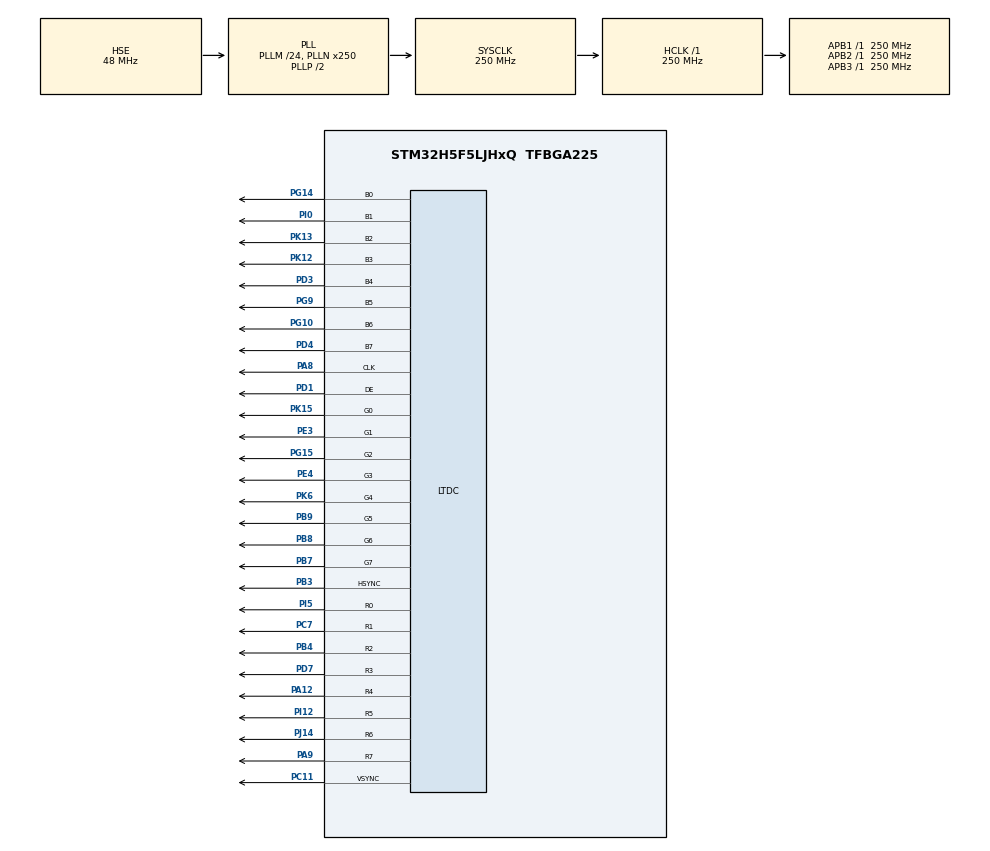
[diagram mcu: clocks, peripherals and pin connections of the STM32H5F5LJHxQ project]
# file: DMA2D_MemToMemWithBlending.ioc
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BOOTPATH.BootPathName=LEGACY
BOOTPATH.UserSelectedBootPath=LEGACY
CORTEX_M33_NS.userName=CORTEX_M33
DMA2D.AlphaModeBackground=DMA2D_REPLACE_ALPHA
DMA2D.AlphaModeForeground=DMA2D_REPLACE_ALPHA
DMA2D.ColorMode=DMA2D_OUTPUT_RGB888
DMA2D.InputAlphaBackground=0x7F
DMA2D.InputAlphaForeground=0x7F
DMA2D.InputColorModeBackground=DMA2D_INPUT_RGB565
DMA2D.InputColorModeForeground=DMA2D_INPUT_RGB565
DMA2D.Mode=DMA2D_M2M_BLEND
DMA2D.OutputOffset=WVGA_RES_X - LAYER_SIZE_X
Mcu.Family=STM32H5
Mcu.Name=STM32H5F5LJHxQ
Mcu.Package=TFBGA225
NVIC.DMA2D_IRQn=true\:0\:0\:false\:false\:true\:true\:true\:true
NVIC.PriorityGroup=NVIC_PRIORITYGROUP_4
PA12.Mode=RGB888
PA12.Signal=LTDC_R4
PA8.Mode=RGB888
PA8.Signal=LTDC_CLK
PA9.Mode=RGB888
PA9.Signal=LTDC_R7
PB3\ (JTDO/TRACESWO).Mode=RGB888
PB3\ (JTDO/TRACESWO).Signal=LTDC_HSYNC
PB4\ (NJTRST).Mode=RGB888
PB4\ (NJTRST).Signal=LTDC_R2
PB7.Mode=RGB888
PB7.Signal=LTDC_G7
PB8.Mode=RGB888
PB8.Signal=LTDC_G6
PB9.Mode=RGB888
PB9.Signal=LTDC_G5
PC11.Mode=RGB888
PC11.Signal=LTDC_VSYNC
PC7.Mode=RGB888
PC7.Signal=LTDC_R1
PD1.Mode=RGB888
PD1.Signal=LTDC_DE
PD3.Mode=RGB888
PD3.Signal=LTDC_B4
PD4.Mode=RGB888
PD4.Signal=LTDC_B7
PD7.Mode=RGB888
PD7.Signal=LTDC_R3
PE3.Mode=RGB888
PE3.Signal=LTDC_G1
PE4.Mode=RGB888
PE4.Signal=LTDC_G3
PG10.Mode=RGB888
PG10.Signal=LTDC_B6
PG14.Mode=RGB888
PG14.Signal=LTDC_B0
PG15.Mode=RGB888
PG15.Signal=LTDC_G2
PG9.Mode=RGB888
PG9.Signal=LTDC_B5
PH0-OSC_IN(PH0).Mode=HSE-External-Oscillator
PH0-OSC_IN(PH0).Signal=RCC_OSC_IN
PH1-OSC_OUT(PH1).Mode=HSE-External-Oscillator
PH1-OSC_OUT(PH1).Signal=RCC_OSC_OUT
PI0.Mode=RGB888
PI0.Signal=LTDC_B1
PI12.Mode=RGB888
PI12.Signal=LTDC_R5
PI5.Mode=RGB888
PI5.Signal=LTDC_R0
PJ14.Mode=RGB888
PJ14.Signal=LTDC_R6
PK12.Mode=RGB888
PK12.Signal=LTDC_B3
PK13.Mode=RGB888
PK13.Signal=LTDC_B2
PK15.Mode=RGB888
PK15.Signal=LTDC_G0
PK6.Mode=RGB888
PK6.Signal=LTDC_G4
ProjectManager.HeapSize=0x200
ProjectManager.StackSize=0x400
ProjectManager.TargetToolchain=EWARM V9.20
RCC.ADCFreq_Value=250000000
RCC.AHBFreq_Value=250000000
RCC.APB1Freq_Value=250000000
RCC.APB1TimFreq_Value=250000000
RCC.APB2Freq_Value=250000000
RCC.APB2TimFreq_Value=250000000
RCC.APB3Freq_Value=250000000
RCC.CSI_VALUE=4000000
RCC.CortexFreq_Value=250000000
RCC.EPOD_VALUE=48000000
RCC.HCLKFreq_Value=250000000
RCC.HSE_VALUE=48000000
RCC.HSI48_VALUE=48000000
RCC.HSI_VALUE=64000000
RCC.LSE_VALUE=32768
RCC.LSIRC_VALUE=32000
RCC.PLL2FRACN=0
RCC.PLL2R=3
RCC.PLL3FRACN=0
RCC.PLLFRACN=0
RCC.PLLM=24
RCC.PLLN=250
RCC.PLLSourceVirtual=RCC_PLL1_SOURCE_HSE
RCC.SYSCLKFreq_VALUE=250000000
RCC.SYSCLKSource=RCC_SYSCLKSOURCE_PLLCLK
RCC.USBFreq_Value=258000000
RCC.VCOOutputFreq_Value=500000000
VP_BOOTPATH_VS_BOOTPATH.Mode=BP_Activate
VP_CORTEX_M33_NS_VS_Hclk.Mode=Hclk_Mode
VP_DMA2D_VS_DMA2D.Mode=DMA2D_Activate
VP_ICACHE_VS_ICACHE.Mode=DefaultMode
VP_PWR_VS_LPOM.Mode=PowerOptimisation
VP_PWR_VS_SECSignals.Mode=Security/Privilege
board=custom

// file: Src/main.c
/* USER CODE BEGIN Header */
/**
  ******************************************************************************
  * @file           : main.c
  * @brief          : Main program body
  ******************************************************************************
  * @attention
  *
  * Copyright (c) 2025 STMicroelectronics.
  * All rights reserved.
  *
  * This software is licensed under terms that can be found in the LICENSE file
  * in the root directory of this software component.
  * If no LICENSE file comes with this software, it is provided AS-IS.
  *
  ******************************************************************************
  */
/* USER CODE END Header */
#include "main.h"

/* USER CODE BEGIN Includes */
#include "RGB565_240x130_1.h"
#include "RGB565_240x130_2.h"
/* USER CODE END Includes */

DMA2D_HandleTypeDef hdma2d;

/* USER CODE BEGIN PV */
/* Blended image Ready flag */
static __IO uint32_t   blended_image_ready = 0;
static uint32_t   offset_address_area_blended_image_in_lcd_buffer =  0;
/* USER CODE END PV */

void SystemClock_Config(void);
static void MX_GPIO_Init(void);
static void MX_ICACHE_Init(void);
static void MX_DMA2D_Init(void);
/* USER CODE BEGIN PFP */
static uint8_t CopyImageToLcdFrameBuffer(void *pSrc, void *pDst, uint32_t xSize, uint32_t ySize);
static void TransferError(DMA2D_HandleTypeDef* Dma2dHandle);
static void TransferComplete(DMA2D_HandleTypeDef* Dma2dHandle);
/* USER CODE END PFP */

int main(void)
{

  /* USER CODE BEGIN 1 */
  HAL_StatusTypeDef hal_status = HAL_OK;
  uint8_t  lcd_status = BSP_ERROR_NONE;

  blended_image_ready = 0;
  offset_address_area_blended_image_in_lcd_buffer =  ((((WVGA_RES_Y - LAYER_SIZE_Y) / 2) * WVGA_RES_X)
                                                    +   ((WVGA_RES_X - LAYER_SIZE_X) / 2))
                                                    * ARGB8888_BYTE_PER_PIXEL;
  /* USER CODE END 1 */

  /* MCU Configuration--------------------------------------------------------*/

  /* Reset of all peripherals, Initializes the Flash interface and the Systick. */
  HAL_Init();

  /* Configure the system clock */
  SystemClock_Config();

  /* USER CODE BEGIN SysInit */
  /* Configure LED1, LED2 and LED3 */
  BSP_LED_Init(LED_GREEN);
  BSP_LED_Init(LED_ORANGE);
  BSP_LED_Init(LED_RED);
  /* USER CODE END SysInit */

  /* Initialize all configured peripherals */
  MX_GPIO_Init();
  MX_ICACHE_Init();
  /* USER CODE BEGIN 2 */
  /* Proceed to LTDC and LCD screen initialization */
  lcd_status = BSP_LCD_Init(0, LCD_ORIENTATION_LANDSCAPE);
  UTIL_LCD_SetFuncDriver(&LCD_Driver);
  if(lcd_status != BSP_ERROR_NONE)
  {
     Error_Handler();
  }

  /* Prepare using DMA2D the 480*272 LCD frame buffer to display background color black */
  /* and title of the example                                                           */
  UTIL_LCD_Clear(UTIL_LCD_COLOR_BLACK);
  UTIL_LCD_SetTextColor(UTIL_LCD_COLOR_WHITE);
  UTIL_LCD_SetBackColor(UTIL_LCD_COLOR_BLUE);
  UTIL_LCD_SetFont(&Font16);

  /* Print example description */
  UTIL_LCD_DisplayStringAt(0, 20, (uint8_t *)"DMA2D_MemToMemWithBlending example", CENTER_MODE);

  HAL_Delay(200);
  /* USER CODE END 2 */

  /* Infinite loop */
  /* USER CODE BEGIN WHILE */
  while (1)
  {

    /*##-1- Copy Foreground image in center of LCD frame buffer ################################################*/
    UTIL_LCD_DisplayStringAt(0, 50, (uint8_t *)"Display Foreground Image :", CENTER_MODE);
    UTIL_LCD_DisplayStringAt(0, 70, (uint8_t *)"     life.augmented     ", CENTER_MODE);
    /* Blocking copy Foreground image buffer to LCD frame buffer center area */
    /* Using the DMA2D in polling mode                            */
    lcd_status = CopyImageToLcdFrameBuffer((void*)&(RGB565_240x130_1[0]),
                                                (void*)(LCD_FRAME_BUFFER + offset_address_area_blended_image_in_lcd_buffer),
                                                LAYER_SIZE_X,
                                                LAYER_SIZE_Y);
    if(lcd_status != BSP_ERROR_NONE)
    {
       Error_Handler();
    }
    HAL_Delay(2000);

    /*##-2- Copy Background image in center of LCD frame buffer ################################################*/
    UTIL_LCD_DisplayStringAt(0, 50, (uint8_t *)"Display Background Image :", CENTER_MODE);
    UTIL_LCD_DisplayStringAt(0, 70, (uint8_t *)"        ST  Logo        ", CENTER_MODE);
    /* Blocking copy Background image buffer to LCD frame buffer center area */
    /* Using the DMA2D in polling mode  */
    lcd_status = CopyImageToLcdFrameBuffer((void*)&(RGB565_240x130_2[0]),
                                                (void*)(LCD_FRAME_BUFFER + offset_address_area_blended_image_in_lcd_buffer),
                                                LAYER_SIZE_X,
                                                LAYER_SIZE_Y);
    if(lcd_status != BSP_ERROR_NONE)
    {
      Error_Handler();
    }
   HAL_Delay(2000);

    /*##-3- foreground and background Blending using the DMA2D ################################################*/
    UTIL_LCD_DisplayStringAt(0, 50, (uint8_t *)"Display Blended Image :   ", CENTER_MODE);
    UTIL_LCD_DisplayStringAt(0, 70, (uint8_t *)"ST Logo + life.augmented", CENTER_MODE);

    MX_DMA2D_Init();
    /*##-4- Start DMA2D transfer in interrupt mode ################################################*/
    /*## RGB565_240x130_1[] is the foreground layer and LCD_FRAME_BUFFER is the background layer */
    hal_status = HAL_DMA2D_BlendingStart_IT(&hdma2d,
                                            (uint32_t)&RGB565_240x130_1,   /* Foreground image */
                                            (uint32_t)&RGB565_240x130_2,   /* Background image */
                                            (uint32_t)(LCD_FRAME_BUFFER + offset_address_area_blended_image_in_lcd_buffer),   /* Destination address */
                                             LAYER_SIZE_X ,  /* width in pixels   */
               LAYER_SIZE_Y);  /* height in pixels   */
    if(hal_status != BSP_ERROR_NONE)
    {
      Error_Handler();
    }
    /* Wait until blended image is ready to be displayed */
    while(blended_image_ready == 0) {;}

    HAL_Delay(2000);
    /* USER CODE END WHILE */

  }
}

void SystemClock_Config(void)
{
  RCC_OscInitTypeDef RCC_OscInitStruct = {0};
  RCC_ClkInitTypeDef RCC_ClkInitStruct = {0};

  /** Configure the main internal regulator output voltage
  */
  __HAL_PWR_VOLTAGESCALING_CONFIG(PWR_REGULATOR_VOLTAGE_SCALE0);

  while(!__HAL_PWR_GET_FLAG(PWR_FLAG_VOSRDY)) {}

  /** Initializes the RCC Oscillators according to the specified parameters
  * in the RCC_OscInitTypeDef structure.
  */
  RCC_OscInitStruct.OscillatorType = RCC_OSCILLATORTYPE_HSE|RCC_OSCILLATORTYPE_CSI;
  RCC_OscInitStruct.HSEState = RCC_HSE_ON;
  RCC_OscInitStruct.CSIState = RCC_CSI_ON;
  RCC_OscInitStruct.CSICalibrationValue = RCC_CSICALIBRATION_DEFAULT;
  RCC_OscInitStruct.PLL.PLLState = RCC_PLL_ON;
  RCC_OscInitStruct.PLL.PLLSource = RCC_PLL1_SOURCE_HSE;
  RCC_OscInitStruct.PLL.PLLM = 24;
  RCC_OscInitStruct.PLL.PLLN = 250;
  RCC_OscInitStruct.PLL.PLLP = 2;
  RCC_OscInitStruct.PLL.PLLQ = 2;
  RCC_OscInitStruct.PLL.PLLR = 2;
  RCC_OscInitStruct.PLL.PLLRGE = RCC_PLL1_VCIRANGE_1;
  RCC_OscInitStruct.PLL.PLLVCOSEL = RCC_PLL1_VCORANGE_WIDE;
  RCC_OscInitStruct.PLL.PLLFRACN = 0;
  if (HAL_RCC_OscConfig(&RCC_OscInitStruct) != HAL_OK)
  {
    Error_Handler();
  }

  /** Initializes the CPU, AHB and APB buses clocks
  */
  RCC_ClkInitStruct.ClockType = RCC_CLOCKTYPE_HCLK|RCC_CLOCKTYPE_SYSCLK
                              |RCC_CLOCKTYPE_PCLK1|RCC_CLOCKTYPE_PCLK2
                              |RCC_CLOCKTYPE_PCLK3;
  RCC_ClkInitStruct.SYSCLKSource = RCC_SYSCLKSOURCE_PLLCLK;
  RCC_ClkInitStruct.AHBCLKDivider = RCC_SYSCLK_DIV1;
  RCC_ClkInitStruct.APB1CLKDivider = RCC_HCLK_DIV1;
  RCC_ClkInitStruct.APB2CLKDivider = RCC_HCLK_DIV1;
  RCC_ClkInitStruct.APB3CLKDivider = RCC_HCLK_DIV1;

  if (HAL_RCC_ClockConfig(&RCC_ClkInitStruct, FLASH_LATENCY_5) != HAL_OK)
  {
    Error_Handler();
  }

  /** Configure the programming delay
  */
  __HAL_FLASH_SET_PROGRAM_DELAY(FLASH_PROGRAMMING_DELAY_2);
}

static void MX_DMA2D_Init(void)
{

  /* USER CODE BEGIN DMA2D_Init 1 */
  /* DMA2D Callbacks Configuration */
  hdma2d.XferCpltCallback  = TransferComplete;
  hdma2d.XferErrorCallback = TransferError;
  /* USER CODE END DMA2D_Init 1 */
  hdma2d.Instance = DMA2D;
  hdma2d.Init.Mode = DMA2D_M2M_BLEND;
  hdma2d.Init.ColorMode = DMA2D_OUTPUT_RGB888;
  hdma2d.Init.OutputOffset = WVGA_RES_X - LAYER_SIZE_X;
  hdma2d.Init.BytesSwap = DMA2D_BYTES_REGULAR;
  hdma2d.Init.LineOffsetMode = DMA2D_LOM_PIXELS;
  hdma2d.LayerCfg[1].InputOffset = 0;
  hdma2d.LayerCfg[1].InputColorMode = DMA2D_INPUT_RGB565;
  hdma2d.LayerCfg[1].AlphaMode = DMA2D_REPLACE_ALPHA;
  hdma2d.LayerCfg[1].InputAlpha = 0x7F;
  hdma2d.LayerCfg[1].AlphaInverted = DMA2D_REGULAR_ALPHA;
  hdma2d.LayerCfg[1].RedBlueSwap = DMA2D_RB_REGULAR;
  hdma2d.LayerCfg[1].ChromaSubSampling = DMA2D_NO_CSS;
  hdma2d.LayerCfg[0].InputOffset = 0;
  hdma2d.LayerCfg[0].InputColorMode = DMA2D_INPUT_RGB565;
  hdma2d.LayerCfg[0].AlphaMode = DMA2D_REPLACE_ALPHA;
  hdma2d.LayerCfg[0].InputAlpha = 0x7F;
  hdma2d.LayerCfg[0].AlphaInverted = DMA2D_REGULAR_ALPHA;
  hdma2d.LayerCfg[0].RedBlueSwap = DMA2D_RB_REGULAR;
  if (HAL_DMA2D_Init(&hdma2d) != HAL_OK)
  {
    Error_Handler();
  }
  if (HAL_DMA2D_ConfigLayer(&hdma2d, 0) != HAL_OK)
  {
    Error_Handler();
  }
  if (HAL_DMA2D_ConfigLayer(&hdma2d, 1) != HAL_OK)
  {
    Error_Handler();
  }

}

static void MX_ICACHE_Init(void)
{

  /** Enable instruction cache (default 2-ways set associative cache)
  */
  if (HAL_ICACHE_Enable() != HAL_OK)
  {
    Error_Handler();
  }

}

static void MX_GPIO_Init(void)
{

  /* GPIO Ports Clock Enable */
  __HAL_RCC_GPIOH_CLK_ENABLE();

}

/* USER CODE BEGIN 4 */
/**
  * @brief  Copy and convert image (LAYER_SIZE_X, LAYER_SIZE_Y) of format RGB565
  * to LCD frame buffer area centered in WVGA resolution.
  * The area of copy is of size (LAYER_SIZE_X, LAYER_SIZE_Y) in ARGB8888.
  * @param  pSrc: Pointer to source buffer : source image buffer start here
  * @param  pDst: Pointer to destination buffer LCD frame buffer center area start here
  * @param  xSize: Buffer width (LAYER_SIZE_X here)
  * @param  ySize: Buffer height (LAYER_SIZE_Y here)
  * @retval LCD Status : BSP_ERROR_NONE or LCD_ERROR
  */
static uint8_t CopyImageToLcdFrameBuffer(void *pSrc, void *pDst, uint32_t xSize, uint32_t ySize)
{
  DMA2D_HandleTypeDef hdma2d_dk;
  HAL_StatusTypeDef hal_status = HAL_OK;
  uint8_t lcd_status = BSP_ERROR_NONE;

  memset(&hdma2d_dk, 0, sizeof(hdma2d_dk));
  /* Configure the DMA2D Mode, Color Mode and output offset */
  hdma2d_dk.Init.Mode          = DMA2D_M2M_PFC;
  hdma2d_dk.Init.ColorMode     = DMA2D_OUTPUT_RGB888; /* Output color out of PFC */
  hdma2d_dk.Init.AlphaInverted = DMA2D_REGULAR_ALPHA;  /* No Output Alpha Inversion*/
  hdma2d_dk.Init.RedBlueSwap   = DMA2D_RB_REGULAR;     /* No Output Red & Blue swap */

  /* Output offset in pixels == nb of pixels to be added at end of line to come to the  */
  /* first pixel of the next line : on the output side of the DMA2D computation         */
  hdma2d_dk.Init.OutputOffset = WVGA_RES_X - LAYER_SIZE_X;

  /* Foreground Configuration */
  hdma2d_dk.LayerCfg[1].AlphaMode      = DMA2D_NO_MODIF_ALPHA;
  hdma2d_dk.LayerCfg[1].InputAlpha     = 0x7F; /* fully opaque */
  hdma2d_dk.LayerCfg[1].InputColorMode = DMA2D_INPUT_RGB565;
  hdma2d_dk.LayerCfg[1].InputOffset    = 0;
  hdma2d_dk.LayerCfg[1].RedBlueSwap    = DMA2D_RB_REGULAR; /* No ForeGround Red/Blue swap */
  hdma2d_dk.LayerCfg[1].AlphaInverted  = DMA2D_REGULAR_ALPHA; /* No ForeGround Alpha inversion */

  hdma2d_dk.Instance = DMA2D;

  /* DMA2D Initialization */
  if(HAL_DMA2D_Init(&hdma2d_dk) == HAL_OK)
  {
    if(HAL_DMA2D_ConfigLayer(&hdma2d_dk, 1) == HAL_OK)
    {
      if (HAL_DMA2D_Start(&hdma2d_dk, (uint32_t)pSrc, (uint32_t)pDst, xSize, ySize) == HAL_OK)
      {
        /* Polling For DMA transfer */
        hal_status = HAL_DMA2D_PollForTransfer(&hdma2d_dk, 10);
        if(hal_status == HAL_OK)
        {
          /* return good status on exit */
          lcd_status = BSP_ERROR_NONE;
        }
      }
    }
  }

  return(lcd_status);
}
/**
  * @brief  DMA2D Transfer completed callback
  * @param  hdma2d: DMA2D handle.
  * @note   This example shows a simple way to report end of DMA2D transfer, and
  *         you can add your own implementation.
  * @retval None
  */
static void TransferComplete(DMA2D_HandleTypeDef *hdma2d)
{
  /* Turn LED_GREEN On */
  BSP_LED_On(LED_GREEN);
  /* The Blended image is now ready for display */
  blended_image_ready = 1;
}

/**
  * @brief  DMA2D error callbacks
  * @param  hdma2d: DMA2D handle
  * @note   This example shows a simple way to report DMA2D transfer error, and you can
  *         add your own implementation.
  * @retval None
  */
static void TransferError(DMA2D_HandleTypeDef *hdma2d)
{
  /* Turn LED_ORANGE On */
  BSP_LED_On(LED_ORANGE);
}
/* USER CODE END 4 */

void Error_Handler(void)
{
  /* USER CODE BEGIN Error_Handler_Debug */
  /* User can add his own implementation to report the HAL error return state */
  __disable_irq();
  while (1)
  {
    BSP_LED_On(LED_RED);
  }
  /* USER CODE END Error_Handler_Debug */
}
